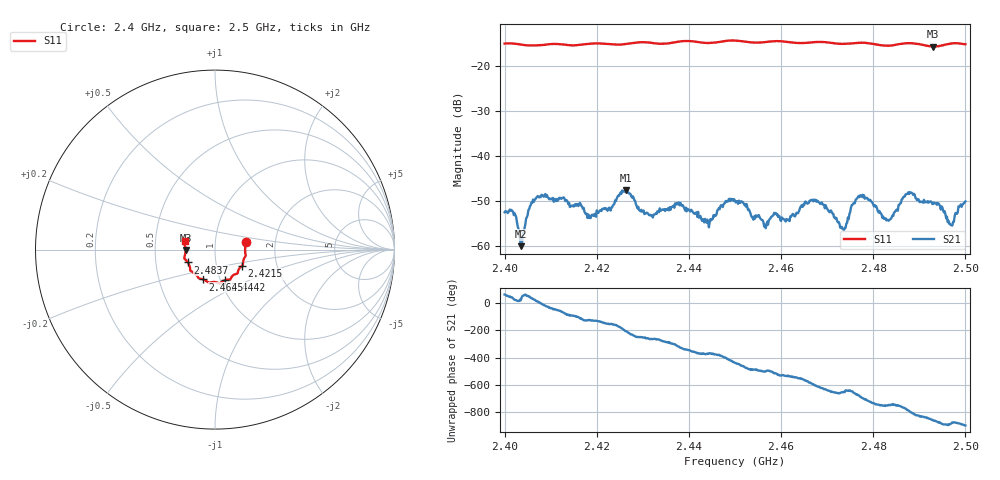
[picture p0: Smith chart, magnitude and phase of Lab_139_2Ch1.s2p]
# Hz S RI R 50
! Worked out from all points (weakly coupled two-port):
!   601 points, 2.4 GHz to 2.5 GHz, reference 50 ohm
!   highest |S21| = -47.69 dB at 2.4263 GHz (marker M1); lowest = -60.1 dB at 2.4035 GHz (marker M2)
!   lowest |S11| = -15.7 dB at 2.493 GHz (marker M3), VSWR 1.39, Z = 36 - j0.22 ohm
!   |S11| at or under -10 dB: start of sweep to end of sweep
!   S12 and S22 are empty: the file has one direction only
!   S11 on the Smith chart (normalised r, x): 2.4 GHz: 1.41, +0.12; 2.4215 GHz: 1.33, -0.25; 2.4442 GHz: 1.05, -0.37; 2.4645 GHz: 0.83, -0.29; 2.4837 GHz: 0.73, -0.11; 2.5 GHz: 0.71, +0.07
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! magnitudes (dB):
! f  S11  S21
! 2.4 GHz  -15.1  -52.6
! 2.402 GHz  -15.1  -53.2
! 2.4035 GHz  -15.3  -60.1
! 2.4072 GHz  -15.5  -49.0
! 2.4167 GHz  -15.3  -51.1
! 2.4215 GHz  -15.1  -51.9
! 2.4263 GHz  -15.2  -47.7
! 2.4333 GHz  -15.1  -52.4
! 2.4377 GHz  -14.7  -50.8
! 2.4442 GHz  -15.0  -54.6
! 2.45 GHz  -14.4  -50.1
! 2.4567 GHz  -14.7  -56.1
! 2.4645 GHz  -15.0  -51.0
! 2.4667 GHz  -14.8  -49.8
! 2.4733 GHz  -15.2  -56.3
! 2.4772 GHz  -14.9  -48.8
! 2.4833 GHz  -15.6  -54.5
! 2.4837 GHz  -15.5  -54.2
! 2.4875 GHz  -15.0  -48.4
! 2.493 GHz  -15.7  -50.7
! 2.497 GHz  -15.0  -55.5
! 2.5 GHz  -15.2  -50.2
